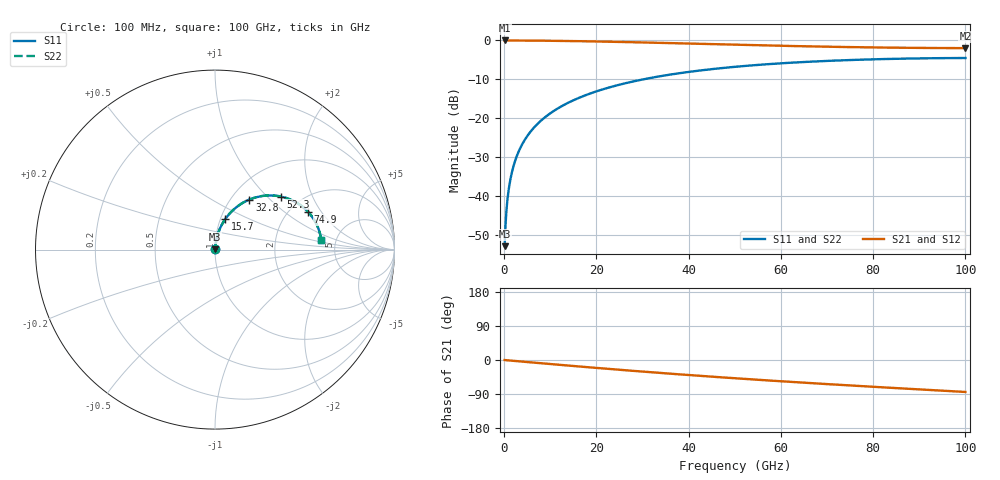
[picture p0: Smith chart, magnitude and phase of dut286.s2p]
! Touchstone file exported from HFSS 2026.1.0
!  File:  C:/ffzhzh/LocalFiles/Ansys_Project_Files/temp_train_RDL_286_1783502116_31944.aedt
!  Generated:  05:16:33 PM Jul  8, 2026
!  Design:  RDL
!  Project:  temp_train_RDL_286_1783502116_31944
! Variables:
!  h_bsmrdl = 2um
!  h_ox = 20um
!  h_rdl = 5um
!  h_sub = 80um
!  h_tmrdl = 3um
!  h_tsv = 80um
!  h_via = 3um
!  l_bsmrdl = 300um
!  l_sub = 660.6um
!  l_tmrdl = 260.6um
!  m_sub = 200um
!  pitch = 44.89um
!  r_tsv = 6um
!  s_tmrdl = 10um
!  w_bsmrdl = 18um
!  w_sub = 500um
!  w_tmrdl = 18.41um
!  x_tsv_center1 = 269.805um
!  x_tsv_center2 = 587.805um
!  x_tsv_center3 = 866.815um
!  x_tsv_center4 = 1184.815um
!  x_tsv_center5 = 1463.825um
!  x_tsv_center6 = 1781.825um
# GHz S MA R 50.000000
! Terminal data exported
! Port[1] = TM_RDL1_1_T1
! Port[2] = TM_RDL1_1_T2
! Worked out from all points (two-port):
!   1000 points, 100 MHz to 100 GHz, reference 50 ohm
!   highest |S21| = -0.02 dB at 100 MHz (marker M1); lowest = -2.0 dB at 100 GHz (marker M2)
!   |S21| within 3 dB of the highest: start of sweep to end of sweep
!   lowest |S11| = -52.8 dB at 100 MHz (marker M3), VSWR 1.00, Z = 50.2 + j0.129 ohm
!   |S11| at or under -10 dB: start of sweep to 30.16 GHz
!   |S22| runs from -52.8 to -4.5 dB; largest |S21 - S12| = 1e-14
!   S11 on the Smith chart (normalised r, x): 100 MHz: 1.00, +0.00; 15.7 GHz: 1.05, +0.37; 32.8 GHz: 1.21, +0.76; 52.3 GHz: 1.59, +1.21; 74.9 GHz: 2.49, +1.52; 100 GHz: 3.82, +0.61
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0.1  0.002281 34.2  0.9981 -0.1  0.9981 -0.1  0.002281 34.2
! Gamma 0 0 0 0
! Port Impedance 50 0 50 0
0.4  0.005408 67.1  0.9979 -0.4  0.9979 -0.4  0.005408 67.1
0.9  0.01114 77.2  0.9977 -1.0  0.9977 -1.0  0.01114 77.2
1.2  0.01461 79.5  0.9976 -1.3  0.9976 -1.3  0.01461 79.5
1.5  0.01811 80.8  0.9974 -1.6  0.9974 -1.6  0.01811 80.8
2  0.02396 81.9  0.9972 -2.2  0.9972 -2.2  0.02396 81.9
2.5  0.02982 82.4  0.997 -2.7  0.997 -2.7  0.02982 82.4
3.9  0.04621 82.3  0.9961 -4.2  0.9961 -4.2  0.04621 82.3
5.9  0.0694 80.9  0.9943 -6.3  0.9943 -6.3  0.0694 81.0
8.5  0.09904 78.6  0.9911 -9.1  0.9911 -9.1  0.09904 78.6
11.7  0.1346 75.5  0.9861 -12.4  0.9861 -12.4  0.1346 75.5
15.7  0.1775 71.6  0.9784 -16.5  0.9784 -16.5  0.1775 71.6
16.8  0.189 70.5  0.976 -17.7  0.976 -17.7  0.189 70.6
24  0.2605 63.6  0.9584 -24.8  0.9584 -24.8  0.2605 63.7
32.8  0.3384 55.5  0.9331 -33.2  0.9331 -33.2  0.3384 55.6
33.4  0.3433 54.9  0.9313 -33.7  0.9313 -33.7  0.3433 55.0
50.1  0.4583 40.6  0.8802 -48.2  0.8802 -48.2  0.4583 40.8
52.3  0.4704 38.9  0.8738 -50.0  0.8738 -50.0  0.4704 39.1
66.7  0.5342 27.9  0.8367 -61.2  0.8367 -61.2  0.5341 28.1
74.9  0.5594 22.0  0.8202 -67.1  0.8202 -67.1  0.5594 22.3
83.4  0.578 16.1  0.8074 -73.1  0.8074 -73.1  0.5779 16.4
100  0.5941 4.9  0.7956 -84.3  0.7956 -84.3  0.594 5.3
